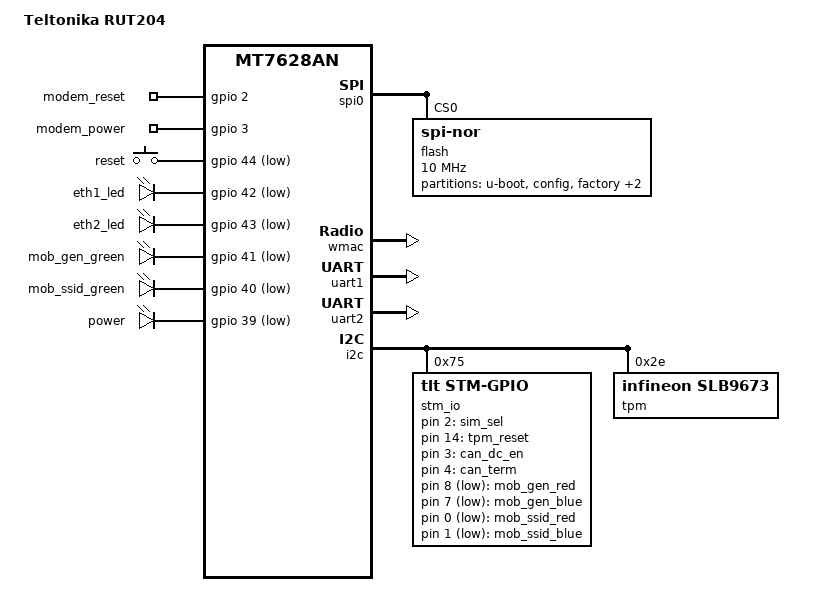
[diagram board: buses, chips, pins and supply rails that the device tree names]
// SPDX-License-Identifier: GPL-2.0-or-later OR MIT
/dts-v1/;

#include <dt-bindings/input/input.h>
#include <dt-bindings/gpio/gpio.h>
#include "mt7628an.dtsi"
#include "platform_name.dtsi"

/ {
	compatible = "teltonika,rut204", "teltonika,rute", "mediatek,mt7628an-soc";
	model = "Teltonika RUT204";

	chosen {
		bootargs = "console=ttyS0,115200 root=/dev/mtdblock5 is_full_hwver=1";
	};

	gpio-export {
		compatible = "gpio-export";
		#size-cells = <0>;

		gpio_modem_reset {
			gpio-export,name = "modem_reset";
			gpio-export,output = <0>;
			gpios = <&gpio 2 GPIO_ACTIVE_HIGH>;
		};

		gpio_modem_power {
			gpio-export,name = "modem_power";
			gpio-export,output = <0>;
			gpios = <&gpio 3 GPIO_ACTIVE_HIGH>;
		};

		gpio_sim_select {
			gpio-export,name = "sim_sel";
			gpio-export,output = <0>;
			gpios = <&stm_io 2 GPIO_ACTIVE_HIGH>; // STM PA4
		};

		gpio_tpm_reset {
			gpio-export,name = "tpm_reset";
			gpio-export,output = <1>;
			gpios = <&stm_io 14 GPIO_ACTIVE_HIGH>; // STM PB9
		};

		gpio_can_dc_en {
			gpio-export,name = "can_dc_en";
			gpio-export,output = <1>;
			gpios = <&stm_io 3 GPIO_ACTIVE_HIGH>; // STM PA5
		};

		gpio_can_term {
			gpio-export,name = "can_term";
			gpio-export,output = <1>;
			gpios = <&stm_io 4 GPIO_ACTIVE_HIGH>; // STM PA6
		};

	};

	keys {
		compatible = "gpio-keys";

		reset {
			label = "reset";
			gpios = <&gpio 44 GPIO_ACTIVE_LOW>;
			linux,code = <KEY_RESTART>;
		};
	};

	leds {
		compatible = "gpio-leds";

		eth1_led {
			label = "eth1_led";
			gpios = <&gpio 42 GPIO_ACTIVE_LOW>;
		};

		eth2_led {
			label = "eth2_led";
			gpios = <&gpio 43 GPIO_ACTIVE_LOW>;
		};

		led_gen_red {
			label = "mob_gen_red";
			gpios = <&stm_io 8 GPIO_ACTIVE_LOW>;  // STM PA10
		};

		led_gen_green {
			label = "mob_gen_green";
			gpios = <&gpio 41 GPIO_ACTIVE_LOW>;
		};

		led_gen_blue {
			label = "mob_gen_blue";
			gpios = <&stm_io 7 GPIO_ACTIVE_LOW>; // STM PA9
		};

		led_ssid_red {
			label = "mob_ssid_red";
			gpios = <&stm_io 0 GPIO_ACTIVE_LOW>; // STM PC6
			linux,default-trigger = "timer";
		};

		led_ssid_green {
			label = "mob_ssid_green";
			gpios = <&gpio 40 GPIO_ACTIVE_LOW>;
			linux,default-trigger = "timer";
		};

		led_ssid_blue {
			label = "mob_ssid_blue";
			gpios = <&stm_io 1 GPIO_ACTIVE_LOW>; // STM PC7
			linux,default-trigger = "timer";
		};

		led_power {
			label = "power";
			gpios = <&gpio 39 GPIO_ACTIVE_LOW>;
			default-state = "on";
			retain-state-shutdown;
		};

	};

	tlt_gpios { // Modify according to wiki page "DTS syntax with Libgpiod changes"
		gpiochip_info {
			hw_0 {
				hwver = <0>;
				gpiochip_count = <4>;

				gpiochip_0 = <32>; // Built-in
				gpiochip_1 = <32>; // Built-in
				gpiochip_2 = <32>; // Built-in
				gpiochip_3 = <8>; // Built-in
			};
		};

		misc {
			GPIO_2 {
				line_name = "GPIO_MODEM_RESET_1";
			};
			GPIO_3 {
				line_name = "GPIO_MODEM_POWER_1";
			};
			GPIO_37 {
				line_name = "GPIO_STM_BOOT";
				active_low;
			};
			GPIO_11 {
				line_name = "GPIO_STM_RESET";
				active_low;
			};

		};
	};
};

&mnfinfo {
	simpin1 {
		default = "";
		sec;
	};

	simpin2 {
		default = "";
		sec;
	};

	sim_cfg {
		default = "2111000_2112000";
	};

	sim_count {
		default =  "2";
	};

	blver {
		reg = <&boot 0x3f000 0xa>;
		trailling-data;
	};
};

&state_default {
	gpio {
		groups = "i2s", "p4led_an", "p3led_an", "p2led_an", "p1led_an", "p0led_an", "gpio", "wled_an", "perst";
		function = "gpio";
	};
};

&spi0 {
	status = "okay";

	flash@0 {
		compatible = "jedec,spi-nor";
		reg = <0>;
		spi-max-frequency = <10000000>;

		partitions {
			compatible = "fixed-partitions";
			#address-cells = <1>;
			#size-cells = <1>;

			boot: partition@0 {
				label = "u-boot";
				reg = <0x0 0x40000>;
				read-only;
			};

			config: partition@40000 {
				compatible = "nvmem-cells";
				#address-cells = <1>;
				#size-cells = <1>;

				label = "config";
				reg = <0x040000 0x010000>;
				read-only;

				macaddr_config_0: macaddr@0 {
					reg = <0x0 0x6>;
				};
			};

			factory: partition@50000 {
				label = "factory";
				reg = <0x050000 0x030000>;
				read-only;
			};

			partition@80000 {
				label = "firmware";
				reg = <0x080000 0x1ED0000>;
			};

			partition@1f50000 {
				label = "event-log";
				reg = <0x1F50000 0xB0000>;
			};
		};
	};
};

&wmac {
	status = "okay";
	nvmem-cells = <&macaddr_config_0>;
	nvmem-cell-names = "mac-address";
	mac-address-increment = <2>;
	mediatek,mtd-eeprom = <&factory 0x20000>;
};

&ethernet {
	nvmem-cells = <&macaddr_config_0>;
	nvmem-cell-names = "mac-address";
};

&esw {
	mediatek,portmap = <0x3e>;
};

&uart1 {
	status = "okay";
};

&uart2 {
	status = "okay";
};

&i2c {
	status = "okay";

	stm_io: stm@75 {
		#gpio-cells = <2>;
		compatible = "tlt,stm-gpio";
		reg = <0x75>;
		gpio-controller;
	};

	tpm@2e {
		compatible = "infineon,slb9673", "st,st33htpm-i2c";
		reg = <0x2e>;
		status = "okay";
	};
};
